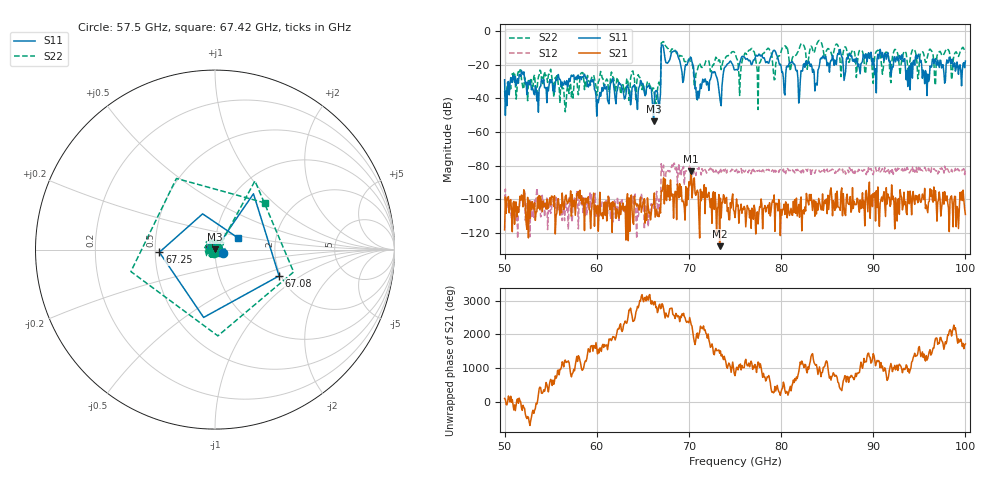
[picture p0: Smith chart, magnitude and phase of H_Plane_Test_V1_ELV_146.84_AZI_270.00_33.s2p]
! 11/27/2026 8:23:20 AM
! C:\ANRITSUVNA\TEMP\TEMP.S2P
! CHANNEL.1
! TR.MEASUREMENT
! RAW.DATA
# HZ S RI R 50.0
! FREQ.HZ  S11RE  S11IM  S21RE  S21IM  S12RE  S12IM  S22RE  S22IM
!; PortSelection: Port_12
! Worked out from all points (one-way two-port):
!   601 points, 50 GHz to 100 GHz, reference 50 ohm
!   highest |S21| = -83.26 dB at 70.25 GHz (marker M1); lowest = -128.0 dB at 73.33 GHz (marker M2)
!   lowest |S11| = -53.7 dB at 66.17 GHz (marker M3), VSWR 1.00, Z = 50.1 + j0.155 ohm
!   |S11| at or under -10 dB: start of sweep to 67 GHz; 67.24 GHz to end of sweep
!   |S22| runs from -48.0 to -5.6 dB; largest |S21 - S12| = 0.00014
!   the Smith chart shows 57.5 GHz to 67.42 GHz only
!   S11 on the Smith chart (normalised r, x): 57.5 GHz: 1.09, -0.05; 67.08 GHz: 1.96, -0.67; 67.25 GHz: 0.53, -0.02; 67.42 GHz: 1.29, +0.17
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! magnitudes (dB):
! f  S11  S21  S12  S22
! 50 GHz  -29.0  -118.3  -100.7  -35.6
! 57.5 GHz  -26.1  -101.6  -103.8  -34.4
! 58.42 GHz  -27.1  -103.0  -98.2  -24.7
! 60.17 GHz  -42.7  -119.0  -111.8  -30.2
! 66.17 GHz  -53.7  -102.8  -105.4  -34.0
! 66.67 GHz  -41.8  -109.1  -109.0  -31.5
! 67.08 GHz  -8.3  -95.4  -83.5  -6.8
! 67.25 GHz  -10.2  -87.3  -79.8  -6.3
! 67.42 GHz  -16.8  -88.1  -92.1  -8.4
! 70.25 GHz  -16.0  -83.3  -90.4  -18.8
! 70.92 GHz  -41.0  -94.7  -81.8  -23.1
! 72.67 GHz  -24.9  -95.6  -83.9  -20.3
! 73.33 GHz  -38.1  -128.0  -83.9  -17.4
! 75 GHz  -23.1  -111.0  -82.9  -13.0
! 77.58 GHz  -13.8  -108.6  -83.0  -21.9
! 78.5 GHz  -18.2  -104.8  -82.5  -10.8
! 79.33 GHz  -11.7  -119.1  -82.8  -28.8
! 80.25 GHz  -27.9  -106.1  -82.2  -9.3
! 83.42 GHz  -24.6  -106.7  -82.7  -10.9
! 91.67 GHz  -16.6  -99.0  -82.0  -15.3
! 95.83 GHz  -38.3  -105.6  -82.2  -16.4
! 100 GHz  -17.9  -109.1  -82.1  -12.6
